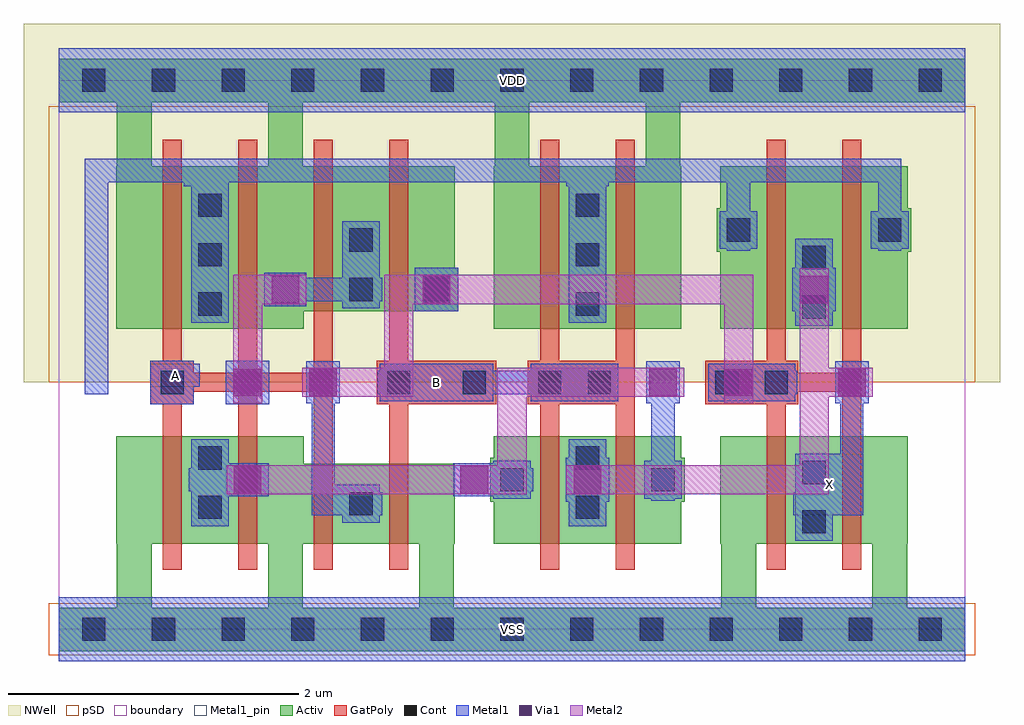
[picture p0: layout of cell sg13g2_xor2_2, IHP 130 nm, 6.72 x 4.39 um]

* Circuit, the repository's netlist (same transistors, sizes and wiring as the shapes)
.SUBCKT sg13g2_xor2_2 X A B VDD VSS
*.PININFO A:I B:I X:O VDD:B VSS:B
MN0 net1 A VSS VSS sg13_lv_nmos w=550.00n l=130.00n ng=1
MN3 X B net3 VSS sg13_lv_nmos w=1.48u l=130.00n ng=2
MN2 X net1 VSS VSS sg13_lv_nmos w=1.48u l=130.00n ng=2
MN4 net3 A VSS VSS sg13_lv_nmos w=1.48u l=130.00n ng=2
MN1 net1 B VSS VSS sg13_lv_nmos w=550.00n l=130.00n ng=1
MP0 net6 A VDD VDD sg13_lv_pmos w=1.000u l=130.00n ng=1
MP1 net1 B net6 VDD sg13_lv_pmos w=1.000u l=130.00n ng=1
MP2 net5 A VDD VDD sg13_lv_pmos w=2.24u l=130.00n ng=2
MP4 net5 B VDD VDD sg13_lv_pmos w=2.24u l=130.00n ng=2
MP3 X net1 net5 VDD sg13_lv_pmos w=2.24u l=130.00n ng=2
.ENDS

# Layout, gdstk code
import gdstk
lib = gdstk.Library(unit=1e-6, precision=1e-09)
def R(c, l, rs):  # rectangles x0, y0, x1, y1
    for r in rs: c.add(gdstk.rectangle(r[:2], r[2:], *l))
def A(c, l, x, y, w, h, nx, ny, dx, dy):  # array of equal rectangles
    R(c, l, [(x+i*dx, y+j*dy, x+i*dx+w, y+j*dy+h) for i in range(nx) for j in range(ny)])
def P(c, l, *ps):  # polygons
    for p in ps: c.add(gdstk.Polygon(p, *l))
Activ = (1, 0)
GatPoly = (5, 0)
Cont = (6, 0)
Metal1 = (8, 0)
Metal1_pin = (8, 2)
Metal2 = (10, 0)
pSD = (14, 0)
Via1 = (19, 0)
NWell = (31, 0)
boundary = (189, 4)

sg13g2_xor2_2 = lib.new_cell('sg13g2_xor2_2')
P(sg13g2_xor2_2, Activ, [(4.8,0.59),(4.8,1.33),(4.555,1.33),(4.555,0.59),(4.56,0.59),(4.56,0.15),(2.72,0.15),(2.72,0.59),(2.725,0.59),(2.725,1.14),(1.685,1.14),(1.685,1.33),(1.68,1.33),(1.68,0.59),(1.68,1.33),(0.64,1.33),(0.64,0.59),(0.64,1.33),(0.395,1.33),(0.395,0.59),(0.4,0.59),(0.4,0.15),(0,0.15),(0,-0.15),(0.64,-0.15),(0.64,0.59),(1.44,0.59),(1.44,0.15),(0.64,0.15),(0.64,-0.15),(1.68,-0.15),(1.68,0.59),(2.48,0.59),(2.48,0.15),(1.68,0.15),(1.68,-0.15),(4.8,-0.15),(4.8,0.59),(5.6,0.59),(5.6,0.15),(4.8,0.15),(4.8,-0.15),(6.24,-0.15),(6.24,0.15),(5.84,0.15),(5.84,0.59),(5.845,0.59),(5.845,1.33),(4.8,1.33)],
  [(3.24,3.63),(3.24,3.93),(0.64,3.93),(0.64,3.63),(0.64,3.93),(0,3.93),(0,3.63),(0.4,3.63),(0.4,3.19),(0.395,3.19),(0.395,2.07),(0.64,2.07),(0.64,3.63),(1.44,3.63),(1.44,3.19),(0.64,3.19),(0.64,2.07),(1.685,2.07),(1.685,2.19),(2.75,2.19),(2.75,2.49),(2.725,2.49),(2.725,3.19),(1.68,3.19),(1.68,3.63),(3,3.63),(3,3.19),(2.995,3.19),(2.995,2.07),(3.24,2.07),(3.24,3.63),(4.04,3.63),(4.04,3.19),(3.24,3.19),(3.24,2.07),(4.285,2.07),(4.285,3.19),(4.28,3.19),(4.28,3.63),(6.24,3.63),(6.24,3.93),(3.24,3.93)],
  [(2.97,0.88),(2.995,0.88),(2.995,0.59),(4.285,0.59),(4.285,0.88),(4.31,0.88),(4.31,1.18),(4.285,1.18),(4.285,1.33),(2.995,1.33),(2.995,1.18),(2.97,1.18)],
  [(4.53,2.6),(4.555,2.6),(4.555,2.07),(5.845,2.07),(5.845,2.6),(5.87,2.6),(5.87,2.9),(5.845,2.9),(5.845,3.19),(4.555,3.19),(4.555,2.9),(4.53,2.9)])
P(sg13g2_xor2_2, GatPoly, [(0.63,1.55),(0.715,1.55),(0.715,0.41),(0.845,0.41),(0.845,1.55),(0.93,1.55),(0.93,1.635),(1.235,1.635),(1.235,0.41),(1.365,0.41),(1.365,1.635),(1.755,1.635),(1.755,0.41),(1.885,0.41),(1.885,3.37),(1.755,3.37),(1.755,1.765),(1.365,1.765),(1.365,3.37),(1.235,3.37),(1.235,1.765),(0.93,1.765),(0.93,1.85),(0.845,1.85),(0.845,3.37),(0.715,3.37),(0.715,1.85),(0.63,1.85)],
  [(2.19,1.55),(2.275,1.55),(2.275,0.41),(2.405,0.41),(2.405,1.55),(3.01,1.55),(3.01,1.85),(2.405,1.85),(2.405,3.37),(2.275,3.37),(2.275,1.85),(2.19,1.85)],
  [(3.23,1.55),(3.315,1.55),(3.315,0.41),(3.445,0.41),(3.445,1.55),(3.835,1.55),(3.835,0.41),(3.965,0.41),(3.965,3.37),(3.835,3.37),(3.835,1.85),(3.445,1.85),(3.445,3.37),(3.315,3.37),(3.315,1.85),(3.23,1.85)],
  [(4.45,1.55),(4.875,1.55),(4.875,0.41),(5.005,0.41),(5.005,1.55),(5.09,1.55),(5.09,1.635),(5.395,1.635),(5.395,0.41),(5.525,0.41),(5.525,3.37),(5.395,3.37),(5.395,1.765),(5.09,1.765),(5.09,1.85),(5.005,1.85),(5.005,3.37),(4.875,3.37),(4.875,1.85),(4.45,1.85)])
A(sg13g2_xor2_2, Cont, 0.16, -0.08, 0.16, 0.16, 13, 2, 0.48, 3.78)
A(sg13g2_xor2_2, Cont, 2.26, 1.62, 0.16, 0.16, 3, 1, 0.52, 0)
A(sg13g2_xor2_2, Cont, 0.96, 2.16, 0.16, 0.16, 1, 3, 0, 0.34)
A(sg13g2_xor2_2, Cont, 3.56, 2.16, 0.16, 0.16, 1, 3, 0, 0.34)
R(sg13g2_xor2_2, Cont, [(5.12,0.66,5.28,0.82), (0.96,0.76,1.12,0.92), (3.56,0.76,3.72,0.92), (2,0.785,2.16,0.945), (3.04,0.95,3.2,1.11), (4.08,0.95,4.24,1.11), (5.12,1,5.28,1.16), (0.96,1.1,1.12,1.26), (3.56,1.1,3.72,1.26), (0.7,1.62,0.86,1.78), (3.64,1.62,3.8,1.78), (4.52,1.62,4.68,1.78), (4.86,1.62,5.02,1.78), (5.12,2.14,5.28,2.3), (2,2.26,2.16,2.42), (2.52,2.26,2.68,2.42), (5.12,2.48,5.28,2.64), (2,2.6,2.16,2.76), (4.6,2.67,4.76,2.83), (5.64,2.67,5.8,2.83)])
R(sg13g2_xor2_2, Metal1, [(0,-0.22,6.24,0.22), (1.15,1.55,1.45,1.85), (2.45,2.19,2.75,2.49), (0,3.56,6.24,4)])
P(sg13g2_xor2_2, Metal1, [(0.18,1.62),(0.34,1.62),(0.34,3.08),(0.86,3.08),(0.86,3.05),(0.91,3.05),(0.91,2.11),(1.17,2.11),(1.17,3.08),(3.495,3.08),(3.495,3.05),(3.51,3.05),(3.51,2.11),(3.77,2.11),(3.77,3.05),(3.785,3.05),(3.785,3.08),(4.6,3.08),(4.6,2.88),(4.55,2.88),(4.55,2.62),(4.6,2.62),(4.6,2.605),(4.76,2.605),(4.76,2.62),(4.81,2.62),(4.81,2.88),(4.76,2.88),(4.76,3.08),(5.64,3.08),(5.64,2.88),(5.59,2.88),(5.59,2.62),(5.64,2.62),(5.64,2.605),(5.8,2.605),(5.8,2.62),(5.85,2.62),(5.85,2.88),(5.8,2.88),(5.8,3.24),(0.18,3.24)],
  [(0.63,1.55),(0.93,1.55),(0.93,1.67),(0.97,1.67),(0.97,1.83),(0.93,1.83),(0.93,1.85),(0.63,1.85)],
  [(0.895,0.95),(0.91,0.95),(0.91,0.71),(1.17,0.71),(1.17,0.915),(1.445,0.915),(1.445,1.145),(1.17,1.145),(1.17,1.31),(0.91,1.31),(0.91,1.11),(0.895,1.11)],
  [(1.415,2.225),(1.705,2.225),(1.705,2.26),(1.95,2.26),(1.95,2.21),(2.21,2.21),(2.21,2.26),(2.225,2.26),(2.225,2.42),(2.21,2.42),(2.21,2.81),(1.95,2.81),(1.95,2.42),(1.705,2.42),(1.705,2.455),(1.415,2.455)],
  [(1.705,1.555),(1.74,1.555),(1.74,0.785),(1.95,0.785),(1.95,0.735),(2.21,0.735),(2.21,0.785),(2.225,0.785),(2.225,0.945),(2.21,0.945),(2.21,0.995),(1.9,0.995),(1.9,1.555),(1.935,1.555),(1.935,1.845),(1.705,1.845)],
  [(2.195,1.62),(2.21,1.62),(2.21,1.57),(2.99,1.57),(2.99,1.62),(3.25,1.62),(3.25,1.57),(3.85,1.57),(3.85,1.83),(3.25,1.83),(3.25,1.78),(2.99,1.78),(2.99,1.83),(2.21,1.83),(2.21,1.78),(2.195,1.78)],
  [(2.715,0.915),(2.99,0.915),(2.99,0.9),(3.25,0.9),(3.25,0.95),(3.265,0.95),(3.265,1.11),(3.25,1.11),(3.25,1.16),(2.99,1.16),(2.99,1.145),(2.715,1.145)],
  [(3.49,0.88),(3.51,0.88),(3.51,0.71),(3.77,0.71),(3.77,0.88),(3.79,0.88),(3.79,1.18),(3.77,1.18),(3.77,1.31),(3.51,1.31),(3.51,1.18),(3.49,1.18)],
  [(4.03,0.9),(4.08,0.9),(4.08,0.885),(4.24,0.885),(4.24,0.9),(4.29,0.9),(4.29,1.16),(4.24,1.16),(4.24,1.555),(4.275,1.555),(4.275,1.845),(4.045,1.845),(4.045,1.555),(4.08,1.555),(4.08,1.16),(4.03,1.16)],
  [(4.47,1.57),(5.07,1.57),(5.07,1.62),(5.085,1.62),(5.085,1.78),(5.07,1.78),(5.07,1.83),(4.47,1.83)],
  [(5.05,2.19),(5.07,2.19),(5.07,2.09),(5.33,2.09),(5.33,2.19),(5.35,2.19),(5.35,2.49),(5.33,2.49),(5.33,2.69),(5.07,2.69),(5.07,2.49),(5.05,2.49)],
  [(5.055,0.785),(5.07,0.785),(5.07,0.61),(5.33,0.61),(5.33,0.785),(5.54,0.785),(5.54,1.555),(5.575,1.555),(5.575,1.845),(5.345,1.845),(5.345,1.555),(5.38,1.555),(5.38,1.21),(5.07,1.21),(5.07,0.945),(5.055,0.945)])
R(sg13g2_xor2_2, Metal1_pin, [(0,-0.22,6.24,0.22), (5.07,0.785,5.54,1.21), (2.21,1.57,2.99,1.83), (0.63,1.67,0.97,1.83), (0,3.56,6.24,4)])
P(sg13g2_xor2_2, Metal2, [(1.155,0.93),(3.22,0.93),(3.22,1.6),(4.305,1.6),(4.305,1.8),(3.02,1.8),(3.02,1.13),(1.155,1.13)],
  [(1.2,1.555),(1.4,1.555),(1.4,2.24),(1.705,2.24),(1.705,2.44),(1.2,2.44)],
  [(1.675,1.6),(2.44,1.6),(2.44,2.24),(4.58,2.24),(4.58,1.555),(4.78,1.555),(4.78,2.44),(2.24,2.44),(2.24,1.8),(1.675,1.8)],
  [(3.495,0.93),(5.3,0.93),(5.3,1.6),(5.605,1.6),(5.605,1.8),(5.3,1.8),(5.3,2.485),(5.1,2.485),(5.1,1.13),(3.495,1.13)])
R(sg13g2_xor2_2, pSD, [(-0.07,-0.18,6.31,0.18), (-0.07,1.7,6.31,3.6)])
R(sg13g2_xor2_2, Via1, [(1.205,0.935,1.395,1.125), (2.765,0.935,2.955,1.125), (3.545,0.935,3.735,1.125), (1.205,1.605,1.395,1.795), (1.725,1.605,1.915,1.795), (4.065,1.605,4.255,1.795), (4.585,1.605,4.775,1.795), (5.365,1.605,5.555,1.795), (1.465,2.245,1.655,2.435), (2.505,2.245,2.695,2.435), (5.105,2.245,5.295,2.435)])
R(sg13g2_xor2_2, NWell, [(-0.24,1.7,6.48,4.17)])
R(sg13g2_xor2_2, boundary, [(0,0,6.24,3.78)])
sg13g2_xor2_2.add(gdstk.Label('A', (0.8,1.75), layer=8, texttype=25))
sg13g2_xor2_2.add(gdstk.Label('B', (2.6,1.7), layer=8, texttype=25))
sg13g2_xor2_2.add(gdstk.Label('X', (5.305,0.995), layer=8, texttype=25))
sg13g2_xor2_2.add(gdstk.Label('VSS', (3.12,0), layer=8, texttype=25))
sg13g2_xor2_2.add(gdstk.Label('VDD', (3.12,3.78), layer=8, texttype=25))

lib.write_gds('sg13g2_xor2_2.gds')
